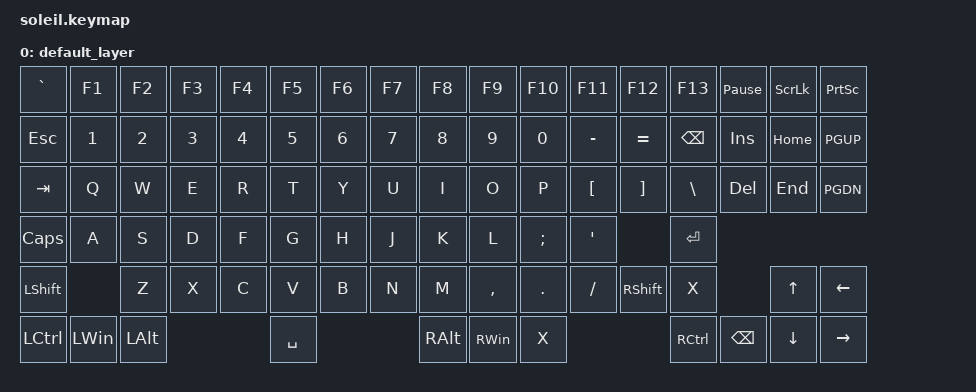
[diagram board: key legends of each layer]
/*
 * Copyright (c) 2022 The ZMK Contributors
 *
 * SPDX-License-Identifier: MIT
 */

#include <behaviors.dtsi>
#include <dt-bindings/zmk/keys.h>
#include <dt-bindings/zmk/bt.h>
//#include <dt-bindings/zmk/outputs.h>

/ {
	keymap {
		compatible = "zmk,keymap";
		default_layer {
			bindings = <
&kp GRAVE  &kp F1    &kp F2    &kp F3    &kp F4 &kp F5     &kp F6 &kp F7    &kp F8     &kp F9     &kp F10    &kp F11    &kp F12   &kp F13         &kp PAUSE_BREAK &kp SLCK    &kp PSCRN
&kp ESC    &kp N1    &kp N2    &kp N3    &kp N4 &kp N5     &kp N6 &kp N7    &kp N8     &kp N9     &kp N0     &kp MINUS  &kp EQUAL &kp BSPC        &kp INS         &kp HOME    &kp PGUP
&kp TAB    &kp Q     &kp W     &kp E     &kp R  &kp T      &kp Y  &kp U     &kp I      &kp O      &kp P      &kp LBKT   &kp RBKT  &kp BSLH        &kp DEL         &kp END     &kp PGDN
&kp CAPS   &kp A     &kp S     &kp D     &kp F  &kp G      &kp H  &kp J     &kp K      &kp L      &kp SEMI   &kp SQT              &kp ENTER
&kp LSHFT            &kp Z     &kp X     &kp C  &kp V      &kp B  &kp N     &kp M      &kp COMMA  &kp DOT    &kp SLASH  &kp RSHFT &kp X                           &kp UP      &kp LEFT
&kp LCTRL  &kp LWIN  &kp LALT                   &kp SPACE                   &kp RALT   &kp RWIN   &kp X                           &kp RCTRL       &kp BSPC        &kp DOWN    &kp RIGHT
			>;
		};
	};
};
